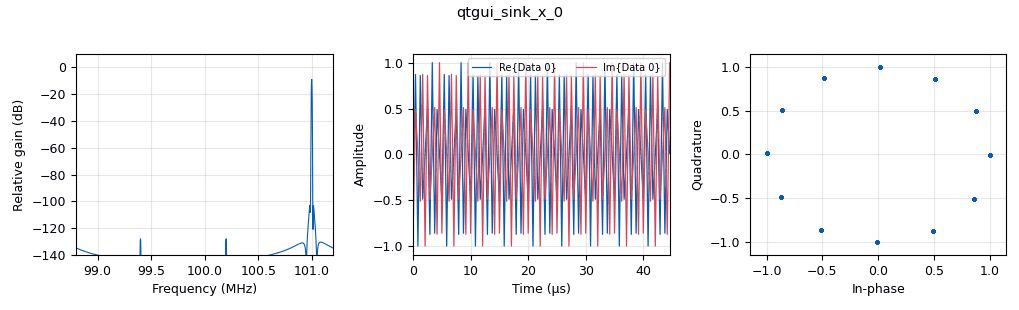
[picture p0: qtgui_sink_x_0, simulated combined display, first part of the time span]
options:
  parameters:
    author: brooks
    generate_options: qt_gui
    id: Signal_Exercise
    output_language: python
    title: First_Exercise
  states: {}

blocks:
- name: samp_rate
  id: variable
  parameters:
    value: 2.4e6
  states: {}
- name: analog_sig_source_x_0
  id: analog_sig_source_x
  parameters:
    amp: '1'
    freq: 1e6
    offset: '0'
    phase: '0'
    samp_rate: samp_rate
    type: complex
    waveform: analog.GR_COS_WAVE
  states: {}
- name: blocks_throttle2_0
  id: blocks_throttle2
  parameters:
    samples_per_second: samp_rate
    type: complex
  states: {}
- name: qtgui_sink_x_0
  id: qtgui_sink_x
  parameters:
    bw: samp_rate
    fc: 100e6
    fftsize: '1024'
    type: complex
  states: {}

connections:
- [analog_sig_source_x_0, '0', blocks_throttle2_0, '0']
- [blocks_throttle2_0, '0', qtgui_sink_x_0, '0']

metadata:
  file_format: 1
  grc_version: 3.10.7.0
